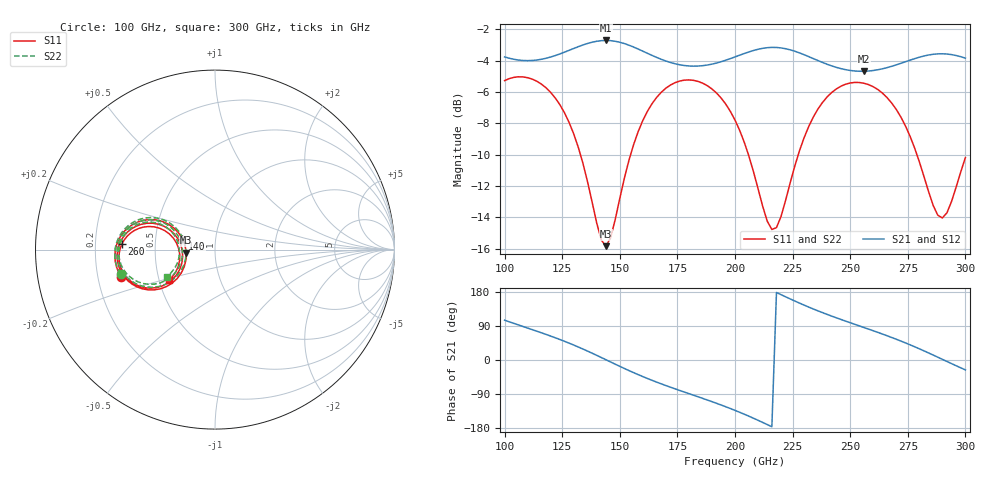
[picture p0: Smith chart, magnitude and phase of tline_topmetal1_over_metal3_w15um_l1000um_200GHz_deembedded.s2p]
! Created with skrf 2.0.1 (http://scikit-rf.org).
# GHz S DB R 50.0
!freq dBS11 angS11 dBS21 angS21 dBS12 angS12 dBS22 angS22
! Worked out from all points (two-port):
!   101 points, 100 GHz to 300 GHz, reference 50 ohm
!   highest |S21| = -2.72 dB at 144 GHz (marker M1); lowest = -4.7 dB at 256 GHz (marker M2)
!   |S21| within 3 dB of the highest: start of sweep to end of sweep
!   lowest |S11| = -15.9 dB at 144 GHz (marker M3), VSWR 1.38, Z = 36.2 - j1.25 ohm
!   |S11| at or under -10 dB: 132.9 GHz to 154.7 GHz (21.83 GHz wide, 15.2 % of centre); 205.8 GHz to 227.5 GHz (21.69 GHz wide, 10 % of centre); 278.9 GHz to end of sweep
!   |S22| runs from -15.8 to -5.0 dB; largest |S21 - S12| = 7.6e-14
!   S11 on the Smith chart (normalised r, x): 100 GHz: 0.30, -0.13; 140 GHz: 0.69, +0.09; 260 GHz: 0.32, +0.03; 300 GHz: 0.56, -0.21
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100  -5.28 -164.0  -3.77 105.1  -3.77 105.1  -5.29 -165.4
116  -5.51 171.7  -3.92 71.8  -3.92 71.8  -5.51 170.0
126  -7.34 157.6  -3.47 49.3  -3.47 49.3  -7.34 155.8
134  -10.57 151.4  -3.01 29.0  -3.01 29.0  -10.56 149.5
140  -14.39 161.8  -2.77 12.2  -2.77 12.2  -14.37 159.8
144  -15.85 -174.0  -2.72 0.6  -2.72 0.6  -15.83 -176.1
156  -9.36 -142.7  -3.14 -33.4  -3.14 -33.4  -9.37 -145.1
168  -6.03 -157.3  -3.92 -63.0  -3.92 -63.0  -6.03 -159.7
184  -5.34 179.7  -4.35 -97.1  -4.35 -97.1  -5.34 177.0
200  -7.80 158.9  -3.77 -132.9  -3.77 -132.9  -7.81 156.0
208  -11.09 156.1  -3.36 -153.6  -3.36 -153.6  -11.10 153.1
216  -14.79 -178.3  -3.16 -176.1  -3.16 -176.1  -14.81 178.6
224  -11.78 -146.6  -3.32 161.1  -3.32 161.1  -11.79 -149.8
234  -7.61 -148.9  -3.88 134.6  -3.88 134.6  -7.62 -152.3
246  -5.64 -164.3  -4.52 106.9  -4.52 106.9  -5.65 -167.9
256  -5.45 -177.9  -4.69 85.7  -4.69 85.7  -5.46 178.4
260  -5.67 176.7  -4.64 77.2  -4.64 77.2  -5.68 173.0
268  -6.71 166.7  -4.37 59.4  -4.37 59.4  -6.72 162.8
278  -9.60 158.9  -3.88 34.9  -3.88 34.9  -9.61 154.9
288  -13.87 178.3  -3.58 7.5  -3.58 7.5  -13.88 174.2
292  -13.72 -163.1  -3.59 -3.9  -3.59 -3.9  -13.72 -167.3
300  -10.19 -146.6  -3.85 -26.1  -3.85 -26.1  -10.20 -150.9
